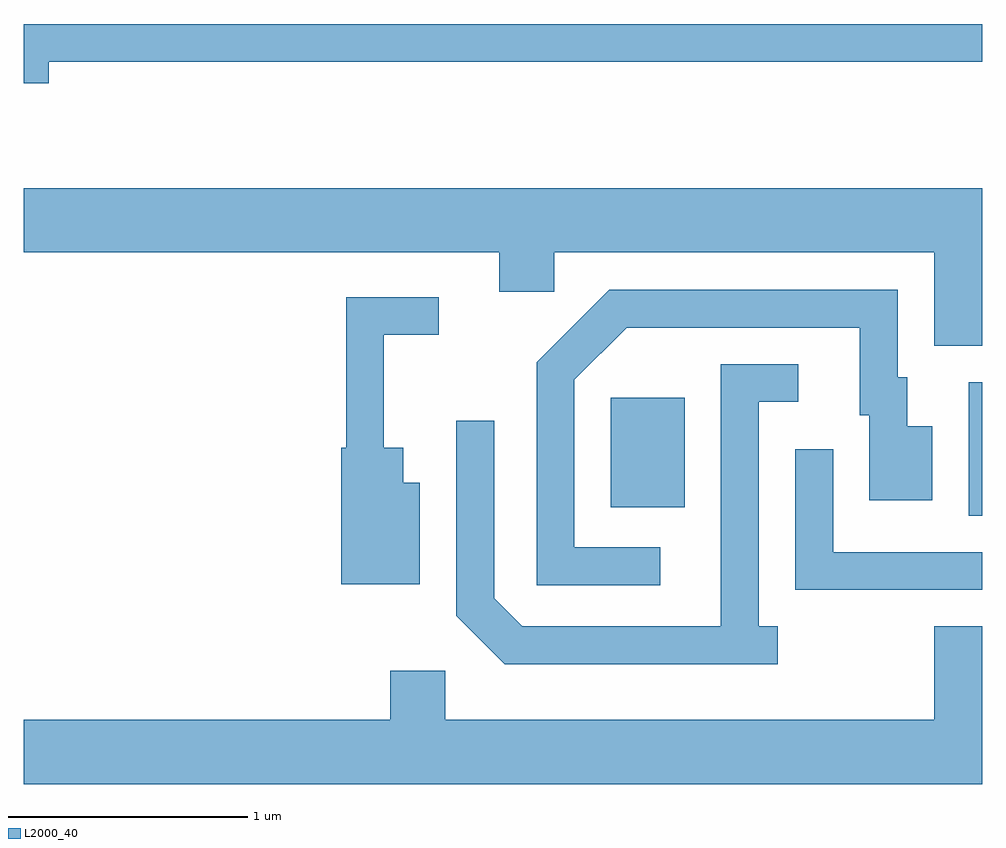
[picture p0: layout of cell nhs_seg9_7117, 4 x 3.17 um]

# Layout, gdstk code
import gdstk
lib = gdstk.Library(unit=1e-6, precision=1e-09)
def R(c, l, rs):  # rectangles x0, y0, x1, y1
    for r in rs: c.add(gdstk.rectangle(r[:2], r[2:], *l))
def P(c, l, *ps):  # polygons
    for p in ps: c.add(gdstk.Polygon(p, *l))
L2000_40 = (2000, 40)

nhs_seg9_7117 = lib.new_cell('nhs_seg9_7117')
R(nhs_seg9_7117, L2000_40, [(399.556,2021.796,399.611,2022.354), (398.061,2021.831,398.369,2022.289)])
P(nhs_seg9_7117, L2000_40, [(395.714,2023.691),(399.611,2023.691),(399.611,2023.849),(395.611,2023.849),(395.611,2023.601),(395.714,2023.601)],
  [(399.611,2023.164),(395.611,2023.164),(395.611,2022.896),(397.596,2022.896),(397.596,2022.731),(397.824,2022.731),(397.824,2022.896),(399.411,2022.896),(399.411,2022.506),(399.611,2022.506)],
  [(398.268,2021.664),(397.909,2021.664),(397.909,2022.364),(398.127,2022.581),(399.101,2022.581),(399.101,2022.216),(399.141,2022.216),(399.141,2021.861),(399.404,2021.861),(399.404,2022.169),(399.299,2022.169),(399.299,2022.374),(399.259,2022.374),(399.259,2022.739),(398.054,2022.739),(397.751,2022.437),(397.751,2021.506),(398.268,2021.506)],
  [(397.264,2021.934),(397.194,2021.934),(397.194,2022.079),(397.114,2022.079),(397.114,2022.551),(397.343,2022.551),(397.343,2022.709),(396.956,2022.709),(396.956,2022.079),(396.936,2022.079),(396.936,2021.511),(397.264,2021.511)],
  [(398.758,2021.334),(398.679,2021.334),(398.679,2022.271),(398.843,2022.271),(398.843,2022.429),(398.521,2022.429),(398.521,2021.334),(397.692,2021.334),(397.574,2021.452),(397.574,2022.193),(397.416,2022.193),(397.416,2021.379),(397.619,2021.176),(398.758,2021.176)],
  [(399.611,2021.644),(398.989,2021.644),(398.989,2022.073),(398.831,2022.073),(398.831,2021.486),(399.611,2021.486)],
  [(399.611,2021.334),(399.411,2021.334),(399.411,2020.944),(397.369,2020.944),(397.369,2021.149),(397.141,2021.149),(397.141,2020.944),(395.611,2020.944),(395.611,2020.676),(399.611,2020.676)])

lib.write_gds('nhs_seg9_7117.gds')
